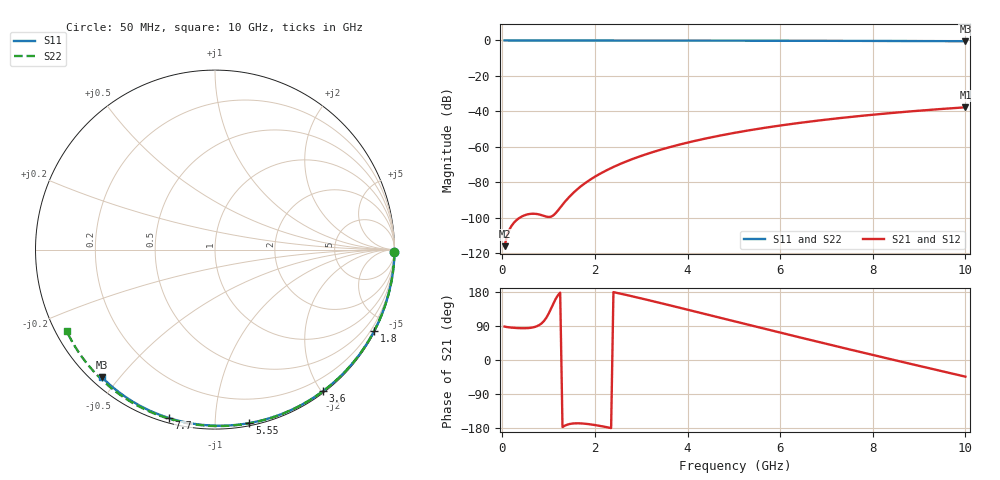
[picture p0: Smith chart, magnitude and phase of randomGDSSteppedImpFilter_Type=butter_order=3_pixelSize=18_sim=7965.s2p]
! freq	dB(S11)	phase(S11)	dB(S12)	phase(S12)
!  dB(S21)	phase(S21)	dB(S22)	phase(S22)
!S-par simulation data
#  GHz  S  DB  R 50
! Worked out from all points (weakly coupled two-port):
!   200 points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, 50 MHz to 10 GHz, reference 50 ohm
!   highest |S21| = -37.75 dB at 10 GHz (marker M1); lowest = -116.2 dB at 50 MHz (marker M2)
!   lowest |S11| = -0.4 dB at 10 GHz (marker M3), VSWR 39.04, Z = 1.54 - j22.4 ohm
!   |S11| at or under -10 dB: nowhere
!   |S22| runs from -0.5 to 0.0 dB; largest |S21 - S12| = 0
!   S11 on the Smith chart (normalised r, x): 50 MHz: open; 1.8 GHz: 0.04, -4.17; 3.6 GHz: 0.02, -2.02; 5.55 GHz: 0.02, -1.22; 7.7 GHz: 0.02, -0.76; 10 GHz: 0.03, -0.45
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0.05  -0.00 -0.8  -116.17 88.3  -116.17 88.3  -0.00 -0.9
0.45  -0.01 -6.8  -99.05 83.8  -99.05 83.8  -0.01 -7.8
0.85  -0.02 -12.9  -98.65 96.9  -98.65 96.9  -0.02 -14.7
1.3  -0.02 -19.6  -92.75 -177.0  -92.75 -177.0  -0.03 -22.3
1.75  -0.03 -26.2  -81.31 -167.7  -81.31 -167.7  -0.04 -29.9
1.8  -0.03 -27.0  -80.35 -168.3  -80.35 -168.3  -0.04 -30.7
1.85  -0.04 -27.7  -79.45 -169.0  -79.45 -169.0  -0.04 -31.6
2.05  -0.04 -30.6  -76.16 -172.6  -76.16 -172.6  -0.04 -34.9
2.2  -0.04 -32.8  -74.01 -175.9  -74.01 -175.9  -0.05 -37.4
2.5  -0.05 -37.2  -70.26 176.5  -70.26 176.5  -0.05 -42.3
2.9  -0.06 -42.9  -66.11 165.4  -66.11 165.4  -0.06 -48.8
3.4  -0.07 -50.0  -61.85 150.8  -61.85 150.8  -0.08 -56.8
3.6  -0.07 -52.8  -60.36 144.8  -60.36 144.8  -0.08 -60.0
4.3  -0.09 -62.3  -55.89 123.7  -55.89 123.7  -0.10 -70.8
5.05  -0.11 -72.3  -52.01 101.0  -52.01 101.0  -0.13 -82.1
5.55  -0.13 -78.8  -49.81 85.9  -49.81 85.9  -0.15 -89.4
6.1  -0.15 -85.8  -47.67 69.4  -47.67 69.4  -0.17 -97.3
6.7  -0.18 -93.2  -45.62 51.5  -45.62 51.5  -0.21 -105.7
7.7  -0.24 -105.2  -42.71 22.0  -42.71 22.0  -0.27 -119.5
8.35  -0.29 -112.8  -41.09 3.2  -41.09 3.2  -0.33 -128.3
9.2  -0.36 -122.6  -39.25 -21.2  -39.25 -21.2  -0.41 -140.0
10  -0.45 -131.6  -37.75 -43.9  -37.75 -43.9  -0.51 -151.1
